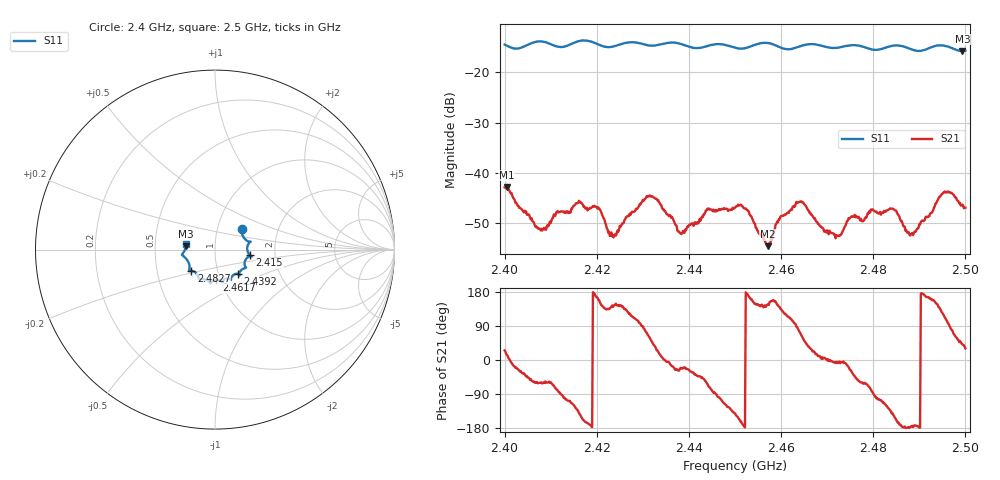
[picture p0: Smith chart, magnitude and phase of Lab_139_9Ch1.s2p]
# Hz S RI R 50
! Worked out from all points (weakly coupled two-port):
!   601 points, 2.4 GHz to 2.5 GHz, reference 50 ohm
!   highest |S21| = -42.85 dB at 2.4005 GHz (marker M1); lowest = -54.6 dB at 2.4572 GHz (marker M2)
!   lowest |S11| = -15.7 dB at 2.4993 GHz (marker M3), VSWR 1.39, Z = 36 + j1.43 ohm
!   |S11| at or under -10 dB: start of sweep to end of sweep
!   S12 and S22 are empty: the file has one direction only
!   S11 on the Smith chart (normalised r, x): 2.4 GHz: 1.31, +0.31; 2.415 GHz: 1.48, -0.10; 2.4392 GHz: 1.24, -0.35; 2.4617 GHz: 0.96, -0.34; 2.4827 GHz: 0.75, -0.18; 2.5 GHz: 0.72, +0.05
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2.4e9  0.1505 0.1152  0.00648 0.00305  0 0  0 0
2.4005e9  0.1499 0.1081  0.007 0.00171  0 0  0 0
2.407833e9  0.1989 0.044  0.00134 -0.0023  0 0  0 0
2.415e9  0.1943 -0.032  -0.00227 -0.00412  0 0  0 0
2.416667e9  0.204 -0.0389  -0.00437 -0.00245  0 0  0 0
2.420333e9  0.1857 -0.041  -0.00421 0.00163  0 0  0 0
2.423333e9  0.1647 -0.0732  -0.00188 0.00136  0 0  0 0
2.431e9  0.1499 -0.1111  0.00217 0.00534  0 0  0 0
2.433333e9  0.1357 -0.1306  0.00496 0.00194  0 0  0 0
2.439167e9  0.1277 -0.1352  0.00255 -0.000917  0 0  0 0
2.45e9  0.0716 -0.1614  -0.00349 -0.00284  0 0  0 0
2.457167e9  0.0446 -0.1914  -0.00156 0.001  0 0  0 0
2.461667e9  0.00828 -0.17  -0.00155 0.00366  0 0  0 0
2.466667e9  -0.0269 -0.1898  0.00341 0.00173  0 0  0 0
2.472333e9  -0.0639 -0.1644  0.00235 -0.000332  0 0  0 0
2.475167e9  -0.0862 -0.1654  0.00322 -0.00165  0 0  0 0
2.482667e9  -0.1316 -0.1176  -0.00187 -0.00362  0 0  0 0
2.483333e9  -0.1373 -0.1171  -0.00261 -0.0034  0 0  0 0
2.488333e9  -0.1417 -0.0932  -0.00249 -0.00018  0 0  0 0
2.495167e9  -0.1836 -0.0265  -0.00321 0.00545  0 0  0 0
2.499333e9  -0.1622 0.0193  0.00358 0.00321  0 0  0 0
2.5e9  -0.1618 0.0315  0.00387 0.00227  0 0  0 0
